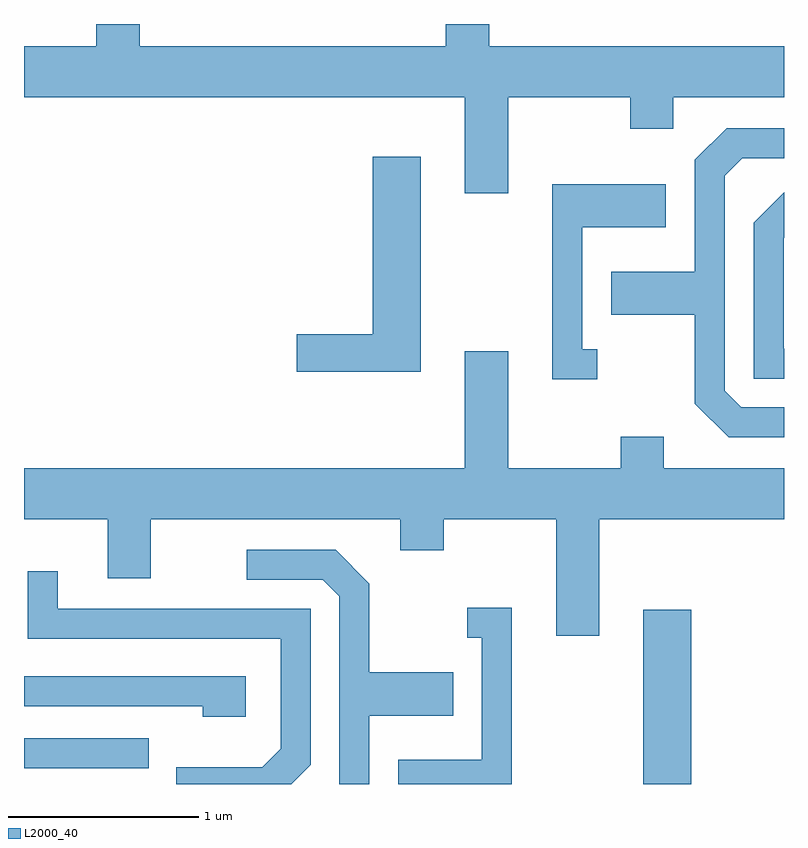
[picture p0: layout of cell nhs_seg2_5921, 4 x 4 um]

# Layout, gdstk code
import gdstk
lib = gdstk.Library(unit=1e-6, precision=1e-09)
def R(c, l, rs):  # rectangles x0, y0, x1, y1
    for r in rs: c.add(gdstk.rectangle(r[:2], r[2:], *l))
def P(c, l, *ps):  # polygons
    for p in ps: c.add(gdstk.Polygon(p, *l))
L2000_40 = (2000, 40)

nhs_seg2_5921 = lib.new_cell('nhs_seg2_5921')
R(nhs_seg2_5921, L2000_40, [(362.871,1055.802,363.124,1056.719), (359.611,1055.886,360.268,1056.044)])
P(nhs_seg2_5921, L2000_40, [(362.159,1059.416),(362.801,1059.416),(362.801,1059.251),(363.029,1059.251),(363.029,1059.416),(363.611,1059.416),(363.611,1059.684),(362.059,1059.684),(362.059,1059.802),(361.831,1059.802),(361.831,1059.684),(360.219,1059.684),(360.219,1059.802),(359.991,1059.802),(359.991,1059.684),(359.611,1059.684),(359.611,1059.416),(361.931,1059.416),(361.931,1058.911),(362.159,1058.911)],
  [(363.611,1057.784),(363.387,1057.784),(363.299,1057.872),(363.299,1059.004),(363.392,1059.096),(363.611,1059.096),(363.611,1059.254),(363.309,1059.254),(363.141,1059.087),(363.141,1058.499),(362.701,1058.499),(362.701,1058.271),(363.141,1058.271),(363.141,1057.804),(363.319,1057.626),(363.611,1057.626)],
  [(361.699,1059.104),(361.446,1059.104),(361.446,1058.169),(361.046,1058.169),(361.046,1057.971),(361.699,1057.971)],
  [(362.628,1058.089),(362.549,1058.089),(362.549,1058.731),(362.989,1058.731),(362.989,1058.959),(362.391,1058.959),(362.391,1057.931),(362.628,1057.931)],
  [(363.611,1058.094),(363.609,1058.094),(363.609,1058.674),(363.611,1058.676),(363.611,1058.916),(363.451,1058.757),(363.451,1057.936),(363.611,1057.936)],
  [(362.639,1057.196),(363.611,1057.196),(363.611,1057.464),(362.979,1057.464),(362.979,1057.629),(362.751,1057.629),(362.751,1057.464),(362.159,1057.464),(362.159,1058.079),(361.931,1058.079),(361.931,1057.464),(359.611,1057.464),(359.611,1057.196),(360.051,1057.196),(360.051,1056.886),(360.279,1056.886),(360.279,1057.196),(361.591,1057.196),(361.591,1057.031),(361.819,1057.031),(361.819,1057.196),(362.411,1057.196),(362.411,1056.581),(362.639,1056.581)],
  [(361.429,1056.161),(361.869,1056.161),(361.869,1056.389),(361.429,1056.389),(361.429,1056.857),(361.252,1057.034),(360.783,1057.034),(360.783,1056.876),(361.184,1056.876),(361.271,1056.789),(361.271,1055.802),(361.429,1055.802)],
  [(361.119,1055.904),(361.119,1056.724),(359.789,1056.724),(359.789,1056.923),(359.631,1056.923),(359.631,1056.566),(360.961,1056.566),(360.961,1055.987),(360.864,1055.889),(360.411,1055.889),(360.411,1055.802),(361.018,1055.802)],
  [(362.179,1056.729),(361.943,1056.729),(361.943,1056.571),(362.021,1056.571),(362.021,1055.929),(361.581,1055.929),(361.581,1055.802),(362.179,1055.802)],
  [(360.779,1056.369),(359.611,1056.369),(359.611,1056.211),(360.551,1056.211),(360.551,1056.156),(360.779,1056.156)])

lib.write_gds('nhs_seg2_5921.gds')
